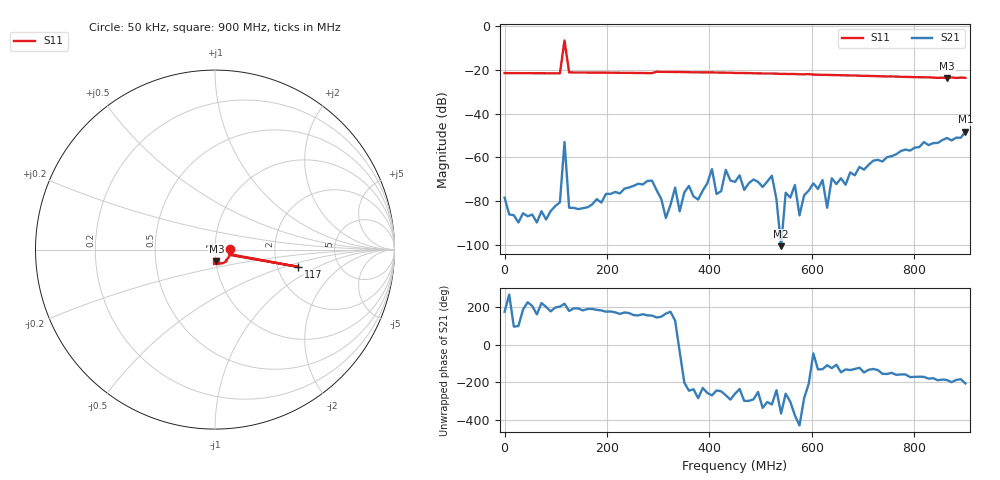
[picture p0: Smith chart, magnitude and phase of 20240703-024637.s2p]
# HZ S RI R 50
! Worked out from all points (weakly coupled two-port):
!   101 points, 50 kHz to 900 MHz, reference 50 ohm
!   highest |S21| = -48.22 dB at 900 MHz (marker M1); lowest = -100.6 dB at 540 MHz (marker M2)
!   lowest |S11| = -23.7 dB at 864 MHz (marker M3), VSWR 1.14, Z = 50.3 - j6.59 ohm
!   |S11| at or under -10 dB: start of sweep to 115 MHz; 119.2 MHz to end of sweep
!   S12 and S22 are empty: the file has one direction only
!   S11 on the Smith chart (normalised r, x): 50 kHz: 1.19, +0.00; 117 MHz: 2.61, -0.64; 900 MHz: 1.00, -0.13
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50000  0.0849 0.000941  -0.00012 9.46e-06  0 0  0 0
1.08044e8  0.08 -0.025  -8.69e-05 -3.64e-05  0 0  0 0
1.170435e8  0.4628 -0.0959  -0.00178 -0.00138  0 0  0 0
1.26043e8  0.0825 -0.03  -7.07e-05 5.93e-07  0 0  0 0
1.530415e8  0.0797 -0.0358  -6.92e-05 -2.7e-06  0 0  0 0
2.88034e8  0.06 -0.0596  -0.000265 0.000125  0 0  0 0
3.06033e8  0.0626 -0.065  -9.57e-05 5.79e-05  0 0  0 0
3.6003e8  0.0539 -0.0706  -9.7e-05 0.000201  0 0  0 0
3.78029e8  0.0507 -0.0726  2.64e-05 0.000105  0 0  0 0
4.050275e8  0.0462 -0.0748  -6.68e-06 0.00054  0 0  0 0
4.14027e8  0.0451 -0.0748  -6.64e-05 0.00013  0 0  0 0
4.32026e8  0.0424 -0.0754  -1.01e-05 0.000519  0 0  0 0
4.50025e8  0.0392 -0.0759  -4.57e-05 0.000272  0 0  0 0
5.22021e8  0.0301 -0.0772  0.000281 0.000257  0 0  0 0
5.4002e8  0.0275 -0.0765  9.3e-06 -8.77e-07  0 0  0 0
6.030165e8  0.0211 -0.0755  0.000177 -0.000185  0 0  0 0
6.210155e8  0.0198 -0.0747  -0.000194 -0.000234  0 0  0 0
6.30015e8  0.0191 -0.0748  -2.27e-05 -6.67e-05  0 0  0 0
6.390145e8  0.0184 -0.0742  -0.000189 -0.000276  0 0  0 0
7.56008e8  0.0114 -0.0702  -0.000921 -0.000543  0 0  0 0
8.64002e8  0.00768 -0.0651  -0.00276 0.000365  0 0  0 0
9e8  0.00624 -0.0658  -0.0035 0.00168  0 0  0 0
